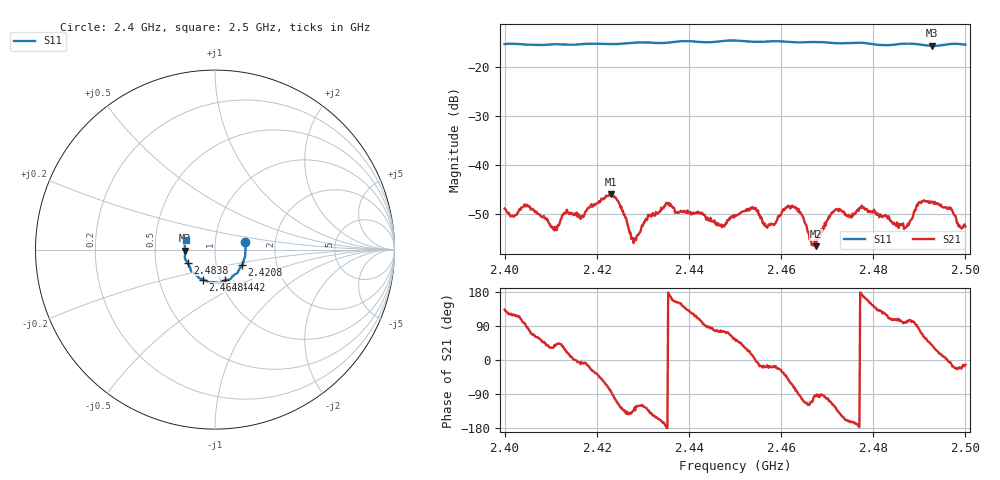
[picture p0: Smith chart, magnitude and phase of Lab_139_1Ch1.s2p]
# Hz S RI R 50
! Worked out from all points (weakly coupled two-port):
!   601 points, 2.4 GHz to 2.5 GHz, reference 50 ohm
!   highest |S21| = -45.85 dB at 2.423 GHz (marker M1); lowest = -56.5 dB at 2.4675 GHz (marker M2)
!   lowest |S11| = -15.6 dB at 2.4928 GHz (marker M3), VSWR 1.40, Z = 35.8 - j0.376 ohm
!   |S11| at or under -10 dB: start of sweep to end of sweep
!   S12 and S22 are empty: the file has one direction only
!   S11 on the Smith chart (normalised r, x): 2.4 GHz: 1.40, +0.12; 2.4208 GHz: 1.33, -0.24; 2.4442 GHz: 1.05, -0.37; 2.4648 GHz: 0.83, -0.29; 2.4838 GHz: 0.73, -0.11; 2.5 GHz: 0.72, +0.08
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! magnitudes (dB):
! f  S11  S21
! 2.4 GHz  -15.3  -48.8
! 2.4048 GHz  -15.4  -48.0
! 2.4108 GHz  -15.3  -53.3
! 2.4167 GHz  -15.2  -50.6
! 2.4208 GHz  -15.2  -47.2
! 2.423 GHz  -15.2  -45.8
! 2.428 GHz  -15.0  -55.9
! 2.4333 GHz  -15.0  -49.7
! 2.4442 GHz  -14.9  -51.1
! 2.45 GHz  -14.5  -50.4
! 2.454 GHz  -14.8  -48.9
! 2.4572 GHz  -14.7  -52.3
! 2.462 GHz  -14.8  -48.8
! 2.4648 GHz  -14.9  -50.6
! 2.4667 GHz  -14.8  -56.2
! 2.4675 GHz  -14.8  -56.5
! 2.4718 GHz  -15.1  -49.0
! 2.4833 GHz  -15.5  -50.4
! 2.4838 GHz  -15.4  -51.3
! 2.4872 GHz  -15.2  -52.5
! 2.4928 GHz  -15.6  -47.4
! 2.5 GHz  -15.3  -52.5
